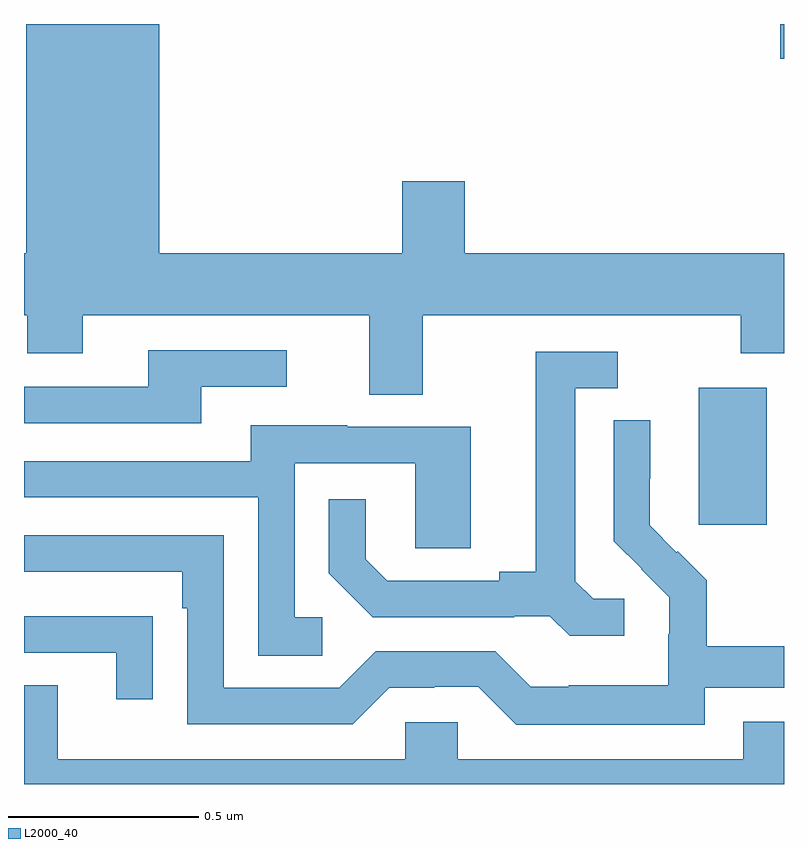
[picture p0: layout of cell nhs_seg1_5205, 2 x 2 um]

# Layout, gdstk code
import gdstk
lib = gdstk.Library(unit=1e-6, precision=1e-09)
def R(c, l, rs):  # rectangles x0, y0, x1, y1
    for r in rs: c.add(gdstk.rectangle(r[:2], r[2:], *l))
def P(c, l, *ps):  # polygons
    for p in ps: c.add(gdstk.Polygon(p, *l))
L2000_40 = (2000, 40)

nhs_seg1_5205 = lib.new_cell('nhs_seg1_5205')
R(nhs_seg1_5205, L2000_40, [(177.776,517.881,177.955,518.242), (177.99,519.107,178,519.199)])
P(nhs_seg1_5205, L2000_40, [(177.049,518.432),(177.886,518.432),(177.886,518.333),(178,518.333),(178,518.596),(177.16,518.596),(177.16,518.785),(176.996,518.785),(176.996,518.596),(176.356,518.596),(176.356,519.199),(176.006,519.199),(176.006,518.596),(176,518.596),(176,518.432),(176.008,518.432),(176.008,518.333),(176.155,518.333),(176.155,518.432),(176.909,518.432),(176.909,518.224),(177.049,518.224)],
  [(176.467,518.244),(176.692,518.244),(176.692,518.34),(176.327,518.34),(176.327,518.244),(176,518.244),(176,518.148),(176.467,518.148)],
  [(177.58,517.686),(177.498,517.686),(177.451,517.733),(177.451,518.241),(177.562,518.241),(177.562,518.337),(177.347,518.337),(177.347,517.757),(177.251,517.757),(177.251,517.734),(176.956,517.734),(176.899,517.791),(176.899,517.948),(176.802,517.948),(176.802,517.754),(176.918,517.638),(177.29,517.638),(177.29,517.641),(177.384,517.641),(177.436,517.589),(177.58,517.589)],
  [(177.792,517.452),(178,517.452),(178,517.561),(177.797,517.561),(177.797,517.735),(177.72,517.812),(177.717,517.809),(177.647,517.88),(177.647,518.002),(177.648,518.002),(177.648,518.156),(177.552,518.156),(177.552,517.838),(177.625,517.765),(177.624,517.764),(177.698,517.69),(177.698,517.593),(177.696,517.593),(177.696,517.459),(177.433,517.459),(177.433,517.455),(177.333,517.455),(177.24,517.548),(176.925,517.548),(176.829,517.452),(176.526,517.452),(176.526,517.854),(176,517.854),(176,517.758),(176.417,517.758),(176.417,517.661),(176.43,517.661),(176.43,517.356),(176.865,517.356),(176.961,517.452),(177.08,517.452),(177.08,517.455),(177.195,517.455),(177.295,517.355),(177.792,517.355)],
  [(176.785,517.638),(176.712,517.638),(176.712,518.043),(177.03,518.043),(177.03,517.819),(177.175,517.819),(177.175,518.139),(176.851,518.139),(176.851,518.143),(176.597,518.143),(176.597,518.049),(176,518.049),(176,517.953),(176.616,517.953),(176.616,517.537),(176.785,517.537)],
  [(176.339,517.64),(176.237,517.64),(176.237,517.641),(176,517.641),(176,517.545),(176.243,517.545),(176.243,517.422),(176.339,517.422)],
  [(178,517.363),(177.893,517.363),(177.893,517.264),(177.141,517.264),(177.141,517.362),(177.003,517.362),(177.003,517.264),(176.089,517.264),(176.089,517.459),(176,517.459),(176,517.199),(178,517.199)])

lib.write_gds('nhs_seg1_5205.gds')
